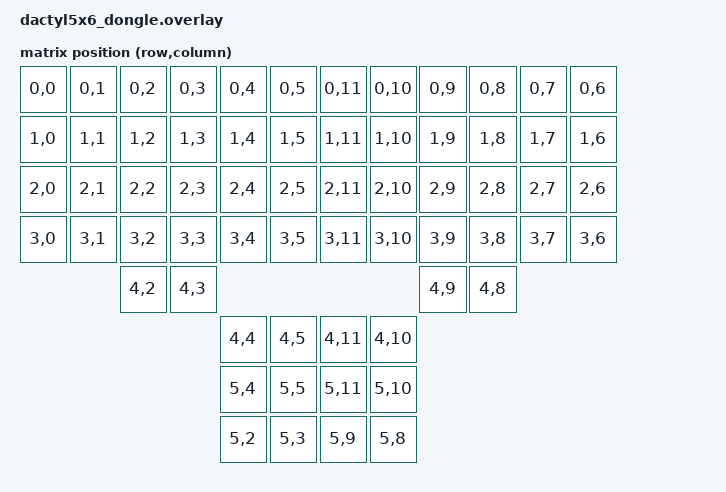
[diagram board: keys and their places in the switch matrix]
#include <dt-bindings/zmk/matrix_transform.h>
#include "dactyl5x6-layouts.dtsi"
#include <dt-bindings/led/led.h>

&physical_layout0 {
    transform = <&default_transform>;
};

/* Dummy led strip setup required for underglow to work */
&pinctrl {
    spi3_default: spi3_default {
        group1 {
            psels = <NRF_PSEL(SPIM_MOSI, 0, 5)>;
        };
    };
};

&spi3 {
    compatible = "nordic,nrf-spim";
    status = "okay";

    pinctrl-0 = <&spi3_default>;
    pinctrl-names = "default";

    led_strip: ws2812@0 {
        compatible = "worldsemi,ws2812-spi";

        /* SPI */
        reg = <0>; /* ignored, but necessary for SPI bindings */
        spi-max-frequency = <4000000>;

        /* WS2812 */
        chain-length = <0>; /* number of LEDs */
        spi-one-frame = <0x70>;
        spi-zero-frame = <0x40>;
        color-mapping = <LED_COLOR_ID_GREEN
                         LED_COLOR_ID_RED
                         LED_COLOR_ID_BLUE>;
    };
};

/ {
    chosen {
        zmk,kscan = &mock_kscan;
        zmk,physical-layout = &physical_layout0;
        zmk,underglow = &led_strip;
    };

    mock_kscan: mock_kscan_0 {
        compatible = "zmk,kscan-mock";
        columns = <0>;
        rows = <0>;
        events = <0>;
    };

    default_transform: keymap_transform0 {
    		compatible = "zmk,matrix-transform";
    		columns = <12>;
    		rows = <6>;
    		map = <
    			RC(0,0) RC(0,1) RC(0,2) RC(0,3) RC(0,4) RC(0,5)     RC(0,11) RC(0,10) RC(0,9) RC(0,8) RC(0,7) RC(0,6)
    			RC(1,0) RC(1,1) RC(1,2) RC(1,3) RC(1,4) RC(1,5)     RC(1,11) RC(1,10) RC(1,9) RC(1,8) RC(1,7) RC(1,6)
    			RC(2,0) RC(2,1) RC(2,2) RC(2,3) RC(2,4) RC(2,5)     RC(2,11) RC(2,10) RC(2,9) RC(2,8) RC(2,7) RC(2,6)
    			RC(3,0) RC(3,1) RC(3,2) RC(3,3) RC(3,4) RC(3,5)     RC(3,11) RC(3,10) RC(3,9) RC(3,8) RC(3,7) RC(3,6)
    							RC(4,2) RC(4,3)                                       RC(4,9) RC(4,8)
    											RC(4,4) RC(4,5)     RC(4,11) RC(4,10)
    											RC(5,4) RC(5,5)     RC(5,11) RC(5,10)
    											RC(5,2) RC(5,3)     RC(5,9)  RC(5,8)

    		>;
    	};
};
